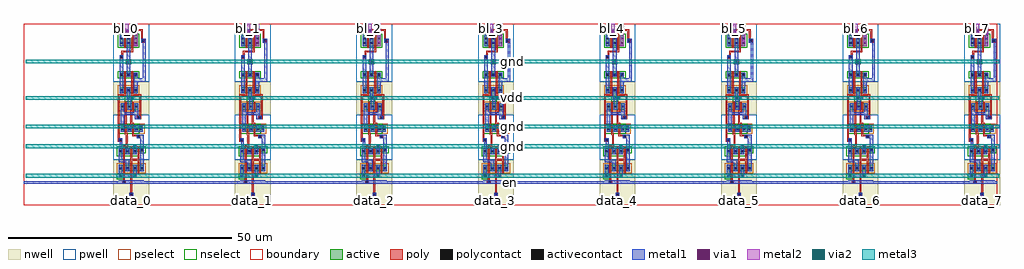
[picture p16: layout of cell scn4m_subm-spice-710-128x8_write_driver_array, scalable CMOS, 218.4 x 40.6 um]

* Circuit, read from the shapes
.subckt scn4m_subm-spice-710-128x8_write_driver_array bl_0 bl_1 bl_2 bl_3 bl_4 bl_5 bl_6 bl_7 br_0 br_1 br_2 br_3 br_4 br_5 br_6 br_7 data_0 data_1 data_2 data_3 data_4 data_5 data_6 data_7 en gnd vdd
M1 n1 en n2 gnd nfet w=1.4u l=0.4u
M2 gnd n2 n3 gnd nfet w=0.8u l=0.4u
M3 gnd n4 bl_0 gnd nfet w=2.4u l=0.4u
M4 n5 en n6 gnd nfet w=1.4u l=0.4u
M5 gnd data_0 n1 gnd nfet w=1.4u l=0.4u
M6 n4 n6 gnd gnd nfet w=0.8u l=0.4u
M7 br_0 n3 gnd gnd nfet w=2.4u l=0.4u
M8 gnd n7 n5 gnd nfet w=1.4u l=0.4u
M9 n7 data_0 gnd gnd nfet w=0.8u l=0.4u
M10 n8 en n9 gnd nfet w=1.4u l=0.4u
M11 gnd n9 n10 gnd nfet w=0.8u l=0.4u
M12 gnd n11 bl_1 gnd nfet w=2.4u l=0.4u
M13 n12 en n13 gnd nfet w=1.4u l=0.4u
M14 gnd data_1 n8 gnd nfet w=1.4u l=0.4u
M15 n11 n13 gnd gnd nfet w=0.8u l=0.4u
M16 br_1 n10 gnd gnd nfet w=2.4u l=0.4u
M17 gnd n14 n12 gnd nfet w=1.4u l=0.4u
M18 n14 data_1 gnd gnd nfet w=0.8u l=0.4u
M19 n15 en n16 gnd nfet w=1.4u l=0.4u
M20 gnd n16 n17 gnd nfet w=0.8u l=0.4u
M21 gnd n18 bl_2 gnd nfet w=2.4u l=0.4u
M22 n19 en n20 gnd nfet w=1.4u l=0.4u
M23 gnd data_2 n15 gnd nfet w=1.4u l=0.4u
M24 n18 n20 gnd gnd nfet w=0.8u l=0.4u
M25 br_2 n17 gnd gnd nfet w=2.4u l=0.4u
M26 gnd n21 n19 gnd nfet w=1.4u l=0.4u
M27 n21 data_2 gnd gnd nfet w=0.8u l=0.4u
M28 n22 en n23 gnd nfet w=1.4u l=0.4u
M29 gnd n23 n24 gnd nfet w=0.8u l=0.4u
M30 gnd n25 bl_3 gnd nfet w=2.4u l=0.4u
M31 n26 en n27 gnd nfet w=1.4u l=0.4u
M32 gnd data_3 n22 gnd nfet w=1.4u l=0.4u
M33 n25 n27 gnd gnd nfet w=0.8u l=0.4u
M34 br_3 n24 gnd gnd nfet w=2.4u l=0.4u
M35 gnd n28 n26 gnd nfet w=1.4u l=0.4u
M36 n28 data_3 gnd gnd nfet w=0.8u l=0.4u
M37 n29 en n30 gnd nfet w=1.4u l=0.4u
M38 gnd n30 n31 gnd nfet w=0.8u l=0.4u
M39 gnd n32 bl_4 gnd nfet w=2.4u l=0.4u
M40 n33 en n34 gnd nfet w=1.4u l=0.4u
M41 gnd data_4 n29 gnd nfet w=1.4u l=0.4u
M42 n32 n34 gnd gnd nfet w=0.8u l=0.4u
M43 br_4 n31 gnd gnd nfet w=2.4u l=0.4u
M44 gnd n35 n33 gnd nfet w=1.4u l=0.4u
M45 n35 data_4 gnd gnd nfet w=0.8u l=0.4u
M46 n36 en n37 gnd nfet w=1.4u l=0.4u
M47 gnd n37 n38 gnd nfet w=0.8u l=0.4u
M48 gnd n39 bl_5 gnd nfet w=2.4u l=0.4u
M49 n40 en n41 gnd nfet w=1.4u l=0.4u
M50 gnd data_5 n36 gnd nfet w=1.4u l=0.4u
M51 n39 n41 gnd gnd nfet w=0.8u l=0.4u
M52 br_5 n38 gnd gnd nfet w=2.4u l=0.4u
M53 gnd n42 n40 gnd nfet w=1.4u l=0.4u
M54 n42 data_5 gnd gnd nfet w=0.8u l=0.4u
M55 n43 en n44 gnd nfet w=1.4u l=0.4u
M56 gnd n44 n45 gnd nfet w=0.8u l=0.4u
M57 gnd n46 bl_6 gnd nfet w=2.4u l=0.4u
M58 n47 en n48 gnd nfet w=1.4u l=0.4u
M59 gnd data_6 n43 gnd nfet w=1.4u l=0.4u
M60 n46 n48 gnd gnd nfet w=0.8u l=0.4u
M61 br_6 n45 gnd gnd nfet w=2.4u l=0.4u
M62 gnd n49 n47 gnd nfet w=1.4u l=0.4u
M63 n49 data_6 gnd gnd nfet w=0.8u l=0.4u
M64 n50 en n51 gnd nfet w=1.4u l=0.4u
M65 gnd n51 n52 gnd nfet w=0.8u l=0.4u
M66 gnd n53 bl_7 gnd nfet w=2.4u l=0.4u
M67 n54 en n55 gnd nfet w=1.4u l=0.4u
M68 gnd data_7 n50 gnd nfet w=1.4u l=0.4u
M69 n53 n55 gnd gnd nfet w=0.8u l=0.4u
M70 br_7 n52 gnd gnd nfet w=2.4u l=0.4u
M71 gnd n56 n54 gnd nfet w=1.4u l=0.4u
M72 n56 data_7 gnd gnd nfet w=0.8u l=0.4u
M73 n2 en vdd vdd pfet w=1.4u l=0.4u
M74 vdd n2 n3 vdd pfet w=1.4u l=0.4u
M75 vdd en n6 vdd pfet w=1.4u l=0.4u
M76 vdd data_0 n2 vdd pfet w=1.4u l=0.4u
M77 n4 n6 vdd vdd pfet w=1.4u l=0.4u
M78 n6 n7 vdd vdd pfet w=1.4u l=0.4u
M79 n7 data_0 vdd vdd pfet w=1.4u l=0.4u
M80 n9 en vdd vdd pfet w=1.4u l=0.4u
M81 vdd n9 n10 vdd pfet w=1.4u l=0.4u
M82 vdd en n13 vdd pfet w=1.4u l=0.4u
M83 vdd data_1 n9 vdd pfet w=1.4u l=0.4u
M84 n11 n13 vdd vdd pfet w=1.4u l=0.4u
M85 n13 n14 vdd vdd pfet w=1.4u l=0.4u
M86 n14 data_1 vdd vdd pfet w=1.4u l=0.4u
M87 n16 en vdd vdd pfet w=1.4u l=0.4u
M88 vdd n16 n17 vdd pfet w=1.4u l=0.4u
M89 vdd en n20 vdd pfet w=1.4u l=0.4u
M90 vdd data_2 n16 vdd pfet w=1.4u l=0.4u
M91 n18 n20 vdd vdd pfet w=1.4u l=0.4u
M92 n20 n21 vdd vdd pfet w=1.4u l=0.4u
M93 n21 data_2 vdd vdd pfet w=1.4u l=0.4u
M94 n23 en vdd vdd pfet w=1.4u l=0.4u
M95 vdd n23 n24 vdd pfet w=1.4u l=0.4u
M96 vdd en n27 vdd pfet w=1.4u l=0.4u
M97 vdd data_3 n23 vdd pfet w=1.4u l=0.4u
M98 n25 n27 vdd vdd pfet w=1.4u l=0.4u
M99 n27 n28 vdd vdd pfet w=1.4u l=0.4u
M100 n28 data_3 vdd vdd pfet w=1.4u l=0.4u
M101 n30 en vdd vdd pfet w=1.4u l=0.4u
M102 vdd n30 n31 vdd pfet w=1.4u l=0.4u
M103 vdd en n34 vdd pfet w=1.4u l=0.4u
M104 vdd data_4 n30 vdd pfet w=1.4u l=0.4u
M105 n32 n34 vdd vdd pfet w=1.4u l=0.4u
M106 n34 n35 vdd vdd pfet w=1.4u l=0.4u
M107 n35 data_4 vdd vdd pfet w=1.4u l=0.4u
M108 n37 en vdd vdd pfet w=1.4u l=0.4u
M109 vdd n37 n38 vdd pfet w=1.4u l=0.4u
M110 vdd en n41 vdd pfet w=1.4u l=0.4u
M111 vdd data_5 n37 vdd pfet w=1.4u l=0.4u
M112 n39 n41 vdd vdd pfet w=1.4u l=0.4u
M113 n41 n42 vdd vdd pfet w=1.4u l=0.4u
M114 n42 data_5 vdd vdd pfet w=1.4u l=0.4u
M115 n44 en vdd vdd pfet w=1.4u l=0.4u
M116 vdd n44 n45 vdd pfet w=1.4u l=0.4u
M117 vdd en n48 vdd pfet w=1.4u l=0.4u
M118 vdd data_6 n44 vdd pfet w=1.4u l=0.4u
M119 n46 n48 vdd vdd pfet w=1.4u l=0.4u
M120 n48 n49 vdd vdd pfet w=1.4u l=0.4u
M121 n49 data_6 vdd vdd pfet w=1.4u l=0.4u
M122 n51 en vdd vdd pfet w=1.4u l=0.4u
M123 vdd n51 n52 vdd pfet w=1.4u l=0.4u
M124 vdd en n55 vdd pfet w=1.4u l=0.4u
M125 vdd data_7 n51 vdd pfet w=1.4u l=0.4u
M126 n53 n55 vdd vdd pfet w=1.4u l=0.4u
M127 n55 n56 vdd vdd pfet w=1.4u l=0.4u
M128 n56 data_7 vdd vdd pfet w=1.4u l=0.4u
.ends

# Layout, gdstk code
import gdstk
lib = gdstk.Library(unit=1e-6, precision=1e-09)
def R(c, l, rs):  # rectangles x0, y0, x1, y1
    for r in rs: c.add(gdstk.rectangle(r[:2], r[2:], *l))
def A(c, l, x, y, w, h, nx, ny, dx, dy):  # array of equal rectangles
    R(c, l, [(x+i*dx, y+j*dy, x+i*dx+w, y+j*dy+h) for i in range(nx) for j in range(ny)])
def P(c, l, *ps):  # polygons
    for p in ps: c.add(gdstk.Polygon(p, *l))
pwell = (41, 0)
nwell = (42, 0)
active = (43, 0)
pselect = (44, 0)
nselect = (45, 0)
poly = (46, 0)
polycontact = (47, 0)
activecontact = (48, 0)
metal1 = (49, 0)
via1 = (50, 0)
metal2 = (51, 0)
via2 = (61, 0)
metal3 = (62, 0)
boundary = (63, 0)

write_driver = lib.new_cell('write_driver')
R(write_driver, pwell, [(-0.6,10.2,7.4,20.2), (-0.6,27.6,7.4,40.6)])
R(write_driver, nwell, [(-0.6,0,7.4,10.2), (-0.6,20.2,7.4,27.6)])
R(write_driver, active, [(0.6,6.2,1.4,7.6), (0.6,7.6,6.2,9), (0.6,11.4,4.6,12), (0.6,12,6.2,12.8), (1,16.4,6,17.8), (1,21.4,5,22.8), (2.4,23.6,3.2,25), (0.8,25,4.8,26.4), (0.8,28.8,4.8,29.6), (2.2,31.6,3.4,32.7), (0.8,35.6,4.8,38)])
R(write_driver, pselect, [(0.2,7,1.8,7.2), (0.2,7.2,6.6,9.4), (5.2,16,6.4,18.2), (0.6,21,5.4,23.2), (2,24.4,3.6,24.6), (0.4,24.6,5.2,26.8), (2.2,31.6,3.4,32.7)])
R(write_driver, nselect, [(0.2,5.8,1.8,7), (0.2,11,5,11.6), (0.2,11.6,6.6,13.2), (0.6,16,5.2,18.2), (2,23.2,3.6,24.4), (0.4,28.4,5.2,30), (0.4,35.2,5.2,38.4)])
R(write_driver, poly, [(3,2,3.8,2.8), (3.2,2.8,3.6,10), (1.4,4.8,2.2,5.6), (1.6,5.6,2,13), (4.8,7.2,5.2,10), (3.2,10,5.2,10.4), (3.2,10.4,3.6,13.2), (4.8,10.4,5.2,13.2), (1.6,13,2.6,13.4), (2.2,13.4,2.6,15.8), (0.4,14.2,1.4,15), (0.4,15,0.8,24.4), (4.6,15,5.4,15.4), (3.6,15.4,5.4,15.8), (2,15.8,2.6,16.2), (3.6,15.8,4,18), (2,16.2,2.4,23.2), (3.2,18,4,18.4), (3.2,18.4,3.6,20.8), (4.6,19.2,5.6,20), (5.2,20,5.6,24.4), (3.2,20.8,4,21.2), (3.6,21.2,4,23.2), (0.4,24.4,2.2,24.8), (3.4,24.4,5.6,24.8), (1.8,24.8,2.2,30), (3.4,24.8,3.8,30), (0.8,32.8,1.6,33.6), (1.2,33.6,1.6,34.2), (1.2,34.2,3.8,34.6), (3.4,34.6,3.8,38.4), (1.8,35.2,2.2,39), (5.6,36.4,6.4,37.2), (5.6,37.2,6,39), (1.8,39,6,39.4)])
R(write_driver, polycontact, [(3.2,2.2,3.6,2.6), (1.6,5,2,5.4), (0.8,14.4,1.2,14.8), (4.8,15.2,5.2,15.6), (4.8,19.4,5.2,19.8), (1,33,1.4,33.4), (5.8,36.6,6.2,37)])
A(write_driver, activecontact, 0.8, 8.1, 0.4, 0.4, 4, 1, 1.6, 0)
A(write_driver, activecontact, 0.8, 11.9, 0.4, 0.4, 3, 1, 1.6, 0)
A(write_driver, activecontact, 1.2, 16.9, 0.4, 0.4, 3, 2, 1.6, 5)
A(write_driver, activecontact, 1, 25.5, 0.4, 0.4, 3, 2, 1.6, 3.5)
A(write_driver, activecontact, 1, 36.1, 0.4, 0.4, 3, 2, 1.6, 1)
R(write_driver, activecontact, [(0.8,6.4,1.2,6.8), (5.6,12.2,6,12.6), (5.4,16.9,5.8,17.3), (2.6,23.8,3,24.2), (2.6,32,3,32.4)])
R(write_driver, metal1, [(3,1.2,3.8,2.8), (0.6,4.8,6.2,5.6), (0.6,4.8,6.2,5.6), (0.6,6.2,4.6,7), (0.6,7,1.4,9), (3.8,7,4.6,9), (2.2,7.6,3,9.6), (5.4,7.6,6.2,15), (0.6,9.6,3,10.2), (0.6,10.2,1.4,12.8), (2.2,11.4,3,12.8), (3.8,11.4,4.6,13.6), (0.8,12.8,1.4,14.2), (0.6,14.2,1.4,15), (4.6,15,6.2,15.8), (1,16.4,1.8,20.2), (2.6,16.4,3.4,17.8), (4.2,16.4,6,17.8), (5,17.8,6,18), (4.2,19.2,5.4,20), (4.2,20,5,20.2), (1,20.2,5,20.8), (1,20.8,1.8,22.8), (4.2,20.8,5,22.8), (2.6,21.4,3.4,23.6), (2.4,23.6,4,24.4), (2.4,24.4,3.2,26.4), (0.8,25,1.6,33.6), (4,25,4.8,27.6), (4,27.6,6.6,28.4), (4,28.4,4.8,29.6), (6,28.4,6.6,36.4), (0.8,35.6,1.6,38), (4,35.6,4.8,38.8), (5.6,36.4,6.6,37.2), (1,38,1.6,38.6), (1,38.6,2.8,39.4)])
P(write_driver, metal1, [(2.4,28.8),(2.4,31.695),(2.4,38),(3.2,38),(3.2,28.8)])
R(write_driver, via1, [(3.2,1.4,3.6,1.8), (4,6.4,4.4,6.8), (4,13,4.4,13.4), (5.4,17.4,5.8,17.8), (3.4,23.8,3.8,24.2), (2.6,32,3,32.4), (4.2,38.2,4.6,38.6), (2.2,38.8,2.6,39.2)])
R(write_driver, metal2, [(3,0,3.8,2), (3,0,3.8,2), (3.8,6.2,4.6,7), (3.8,6.2,4.6,7), (3.8,12.8,4.6,13.6), (3.8,12.8,4.6,13.6), (5.2,17.2,6,18), (5.2,17.2,6,18), (3.2,23.6,4,24.4), (3.2,23.6,4,24.4), (2.4,31.8,3.2,32.6), (2.4,31.8,3.2,32.6), (4,35.6,4.8,40.6), (4,35.6,4.8,40.6), (2,38.6,2.8,40.6), (2,38.6,2.8,40.6)])
R(write_driver, boundary, [(0,0,6.8,40.6)])
write_driver.add(gdstk.Label('en', (3.4,5.2), layer=49, texttype=0))
write_driver.add(gdstk.Label('din', (3,0.2), layer=51, texttype=0))
write_driver.add(gdstk.Label('gnd', (4.2,13.2), layer=51, texttype=0))
write_driver.add(gdstk.Label('gnd', (5.6,17.6), layer=51, texttype=0))
write_driver.add(gdstk.Label('vdd', (4.2,6.6), layer=51, texttype=0))
write_driver.add(gdstk.Label('vdd', (3.6,24), layer=51, texttype=0))
write_driver.add(gdstk.Label('bl', (2.4,40.2), layer=51, texttype=0))
write_driver.add(gdstk.Label('br', (4.4,40.2), layer=51, texttype=0))
write_driver.add(gdstk.Label('gnd', (2.8,32.2), layer=51, texttype=0))
write_driver.add(gdstk.Label('din', (3.4,1), layer=51, texttype=0))
write_driver.add(gdstk.Label('bl', (2.4,39.6), layer=51, texttype=0))
write_driver.add(gdstk.Label('br', (4.4,38.1), layer=51, texttype=0))
write_driver.add(gdstk.Label('en', (3.4,5.2), layer=49, texttype=0))
write_driver.add(gdstk.Label('vdd', (4.2,6.6), layer=51, texttype=0))
write_driver.add(gdstk.Label('vdd', (3.6,24), layer=51, texttype=0))
write_driver.add(gdstk.Label('gnd', (4.2,13.2), layer=51, texttype=0))
write_driver.add(gdstk.Label('gnd', (5.6,17.6), layer=51, texttype=0))
write_driver.add(gdstk.Label('gnd', (2.8,32.2), layer=51, texttype=0))

scn4m_subm_spice_710_128 = lib.new_cell('scn4m_subm-spice-710-128x8_contact_19')
R(scn4m_subm_spice_710_128, metal2, [(0,0,0.8,0.8)])
R(scn4m_subm_spice_710_128, via2, [(0.2,0.2,0.6,0.6)])
R(scn4m_subm_spice_710_128, metal3, [(0,0,0.8,0.8)])
R(scn4m_subm_spice_710_128, boundary, [(0,0,0.8,0.8)])

c_scn4m_subm_spice_710_128 = lib.new_cell('scn4m_subm-spice-710-128x8_write_driver_array')
R(c_scn4m_subm_spice_710_128, metal1, [(0,4.8,217.8,5.4)])
A(c_scn4m_subm_spice_710_128, metal2, 23.6, 0, 0.8, 2, 8, 1, 27.2, 0)
A(c_scn4m_subm_spice_710_128, metal2, 24.6, 35.6, 0.8, 5, 8, 1, 27.2, 0)
A(c_scn4m_subm_spice_710_128, metal2, 22.6, 38.6, 0.8, 2, 8, 1, 27.2, 0)
R(c_scn4m_subm_spice_710_128, metal3, [(0.4,6.2,218.2,7), (0.4,12.8,218.2,13.6), (0.4,17.2,218.2,18), (0.4,23.6,218.2,24.4), (0.4,31.8,218.2,32.6)])
R(c_scn4m_subm_spice_710_128, boundary, [(0,0,217.8,40.6)])
c_scn4m_subm_spice_710_128.add(gdstk.Reference(write_driver, (20.6,0)))
c_scn4m_subm_spice_710_128.add(gdstk.Reference(write_driver, (47.8,0)))
c_scn4m_subm_spice_710_128.add(gdstk.Reference(write_driver, (75,0)))
c_scn4m_subm_spice_710_128.add(gdstk.Reference(write_driver, (102.2,0)))
c_scn4m_subm_spice_710_128.add(gdstk.Reference(write_driver, (129.4,0)))
c_scn4m_subm_spice_710_128.add(gdstk.Reference(write_driver, (156.6,0)))
c_scn4m_subm_spice_710_128.add(gdstk.Reference(write_driver, (183.8,0)))
c_scn4m_subm_spice_710_128.add(gdstk.Reference(write_driver, (211,0)))
c_scn4m_subm_spice_710_128.add(gdstk.Reference(scn4m_subm_spice_710_128, (24.4,6.2)))
c_scn4m_subm_spice_710_128.add(gdstk.Reference(scn4m_subm_spice_710_128, (51.6,6.2)))
c_scn4m_subm_spice_710_128.add(gdstk.Reference(scn4m_subm_spice_710_128, (78.8,6.2)))
c_scn4m_subm_spice_710_128.add(gdstk.Reference(scn4m_subm_spice_710_128, (106,6.2)))
c_scn4m_subm_spice_710_128.add(gdstk.Reference(scn4m_subm_spice_710_128, (133.2,6.2)))
c_scn4m_subm_spice_710_128.add(gdstk.Reference(scn4m_subm_spice_710_128, (160.4,6.2)))
c_scn4m_subm_spice_710_128.add(gdstk.Reference(scn4m_subm_spice_710_128, (187.6,6.2)))
c_scn4m_subm_spice_710_128.add(gdstk.Reference(scn4m_subm_spice_710_128, (214.8,6.2)))
c_scn4m_subm_spice_710_128.add(gdstk.Reference(scn4m_subm_spice_710_128, (23.8,23.6)))
c_scn4m_subm_spice_710_128.add(gdstk.Reference(scn4m_subm_spice_710_128, (51,23.6)))
c_scn4m_subm_spice_710_128.add(gdstk.Reference(scn4m_subm_spice_710_128, (78.2,23.6)))
c_scn4m_subm_spice_710_128.add(gdstk.Reference(scn4m_subm_spice_710_128, (105.4,23.6)))
c_scn4m_subm_spice_710_128.add(gdstk.Reference(scn4m_subm_spice_710_128, (132.6,23.6)))
c_scn4m_subm_spice_710_128.add(gdstk.Reference(scn4m_subm_spice_710_128, (159.8,23.6)))
c_scn4m_subm_spice_710_128.add(gdstk.Reference(scn4m_subm_spice_710_128, (187,23.6)))
c_scn4m_subm_spice_710_128.add(gdstk.Reference(scn4m_subm_spice_710_128, (214.2,23.6)))
c_scn4m_subm_spice_710_128.add(gdstk.Reference(scn4m_subm_spice_710_128, (24.4,12.8)))
c_scn4m_subm_spice_710_128.add(gdstk.Reference(scn4m_subm_spice_710_128, (51.6,12.8)))
c_scn4m_subm_spice_710_128.add(gdstk.Reference(scn4m_subm_spice_710_128, (78.8,12.8)))
c_scn4m_subm_spice_710_128.add(gdstk.Reference(scn4m_subm_spice_710_128, (106,12.8)))
c_scn4m_subm_spice_710_128.add(gdstk.Reference(scn4m_subm_spice_710_128, (133.2,12.8)))
c_scn4m_subm_spice_710_128.add(gdstk.Reference(scn4m_subm_spice_710_128, (160.4,12.8)))
c_scn4m_subm_spice_710_128.add(gdstk.Reference(scn4m_subm_spice_710_128, (187.6,12.8)))
c_scn4m_subm_spice_710_128.add(gdstk.Reference(scn4m_subm_spice_710_128, (214.8,12.8)))
c_scn4m_subm_spice_710_128.add(gdstk.Reference(scn4m_subm_spice_710_128, (25.8,17.2)))
c_scn4m_subm_spice_710_128.add(gdstk.Reference(scn4m_subm_spice_710_128, (53,17.2)))
c_scn4m_subm_spice_710_128.add(gdstk.Reference(scn4m_subm_spice_710_128, (80.2,17.2)))
c_scn4m_subm_spice_710_128.add(gdstk.Reference(scn4m_subm_spice_710_128, (107.4,17.2)))
c_scn4m_subm_spice_710_128.add(gdstk.Reference(scn4m_subm_spice_710_128, (134.6,17.2)))
c_scn4m_subm_spice_710_128.add(gdstk.Reference(scn4m_subm_spice_710_128, (161.8,17.2)))
c_scn4m_subm_spice_710_128.add(gdstk.Reference(scn4m_subm_spice_710_128, (189,17.2)))
c_scn4m_subm_spice_710_128.add(gdstk.Reference(scn4m_subm_spice_710_128, (216.2,17.2)))
c_scn4m_subm_spice_710_128.add(gdstk.Reference(scn4m_subm_spice_710_128, (23,31.8)))
c_scn4m_subm_spice_710_128.add(gdstk.Reference(scn4m_subm_spice_710_128, (50.2,31.8)))
c_scn4m_subm_spice_710_128.add(gdstk.Reference(scn4m_subm_spice_710_128, (77.4,31.8)))
c_scn4m_subm_spice_710_128.add(gdstk.Reference(scn4m_subm_spice_710_128, (104.6,31.8)))
c_scn4m_subm_spice_710_128.add(gdstk.Reference(scn4m_subm_spice_710_128, (131.8,31.8)))
c_scn4m_subm_spice_710_128.add(gdstk.Reference(scn4m_subm_spice_710_128, (159,31.8)))
c_scn4m_subm_spice_710_128.add(gdstk.Reference(scn4m_subm_spice_710_128, (186.2,31.8)))
c_scn4m_subm_spice_710_128.add(gdstk.Reference(scn4m_subm_spice_710_128, (213.4,31.8)))
c_scn4m_subm_spice_710_128.add(gdstk.Label('data_0', (24,1), layer=51, texttype=0))
c_scn4m_subm_spice_710_128.add(gdstk.Label('bl_0', (23,39.6), layer=51, texttype=0))
c_scn4m_subm_spice_710_128.add(gdstk.Label('br_0', (25,38.1), layer=51, texttype=0))
c_scn4m_subm_spice_710_128.add(gdstk.Label('data_1', (51.2,1), layer=51, texttype=0))
c_scn4m_subm_spice_710_128.add(gdstk.Label('bl_1', (50.2,39.6), layer=51, texttype=0))
c_scn4m_subm_spice_710_128.add(gdstk.Label('br_1', (52.2,38.1), layer=51, texttype=0))
c_scn4m_subm_spice_710_128.add(gdstk.Label('data_2', (78.4,1), layer=51, texttype=0))
c_scn4m_subm_spice_710_128.add(gdstk.Label('bl_2', (77.4,39.6), layer=51, texttype=0))
c_scn4m_subm_spice_710_128.add(gdstk.Label('br_2', (79.4,38.1), layer=51, texttype=0))
c_scn4m_subm_spice_710_128.add(gdstk.Label('data_3', (105.6,1), layer=51, texttype=0))
c_scn4m_subm_spice_710_128.add(gdstk.Label('bl_3', (104.6,39.6), layer=51, texttype=0))
c_scn4m_subm_spice_710_128.add(gdstk.Label('br_3', (106.6,38.1), layer=51, texttype=0))
c_scn4m_subm_spice_710_128.add(gdstk.Label('data_4', (132.8,1), layer=51, texttype=0))
c_scn4m_subm_spice_710_128.add(gdstk.Label('bl_4', (131.8,39.6), layer=51, texttype=0))
c_scn4m_subm_spice_710_128.add(gdstk.Label('br_4', (133.8,38.1), layer=51, texttype=0))
c_scn4m_subm_spice_710_128.add(gdstk.Label('data_5', (160,1), layer=51, texttype=0))
c_scn4m_subm_spice_710_128.add(gdstk.Label('bl_5', (159,39.6), layer=51, texttype=0))
c_scn4m_subm_spice_710_128.add(gdstk.Label('br_5', (161,38.1), layer=51, texttype=0))
c_scn4m_subm_spice_710_128.add(gdstk.Label('data_6', (187.2,1), layer=51, texttype=0))
c_scn4m_subm_spice_710_128.add(gdstk.Label('bl_6', (186.2,39.6), layer=51, texttype=0))
c_scn4m_subm_spice_710_128.add(gdstk.Label('br_6', (188.2,38.1), layer=51, texttype=0))
c_scn4m_subm_spice_710_128.add(gdstk.Label('data_7', (214.4,1), layer=51, texttype=0))
c_scn4m_subm_spice_710_128.add(gdstk.Label('bl_7', (213.4,39.6), layer=51, texttype=0))
c_scn4m_subm_spice_710_128.add(gdstk.Label('br_7', (215.4,38.1), layer=51, texttype=0))
c_scn4m_subm_spice_710_128.add(gdstk.Label('en', (108.9,5.1), layer=49, texttype=0))
c_scn4m_subm_spice_710_128.add(gdstk.Label('vdd', (109.3,24), layer=62, texttype=0))
c_scn4m_subm_spice_710_128.add(gdstk.Label('vdd', (109.3,6.6), layer=62, texttype=0))
c_scn4m_subm_spice_710_128.add(gdstk.Label('gnd', (109.3,13.2), layer=62, texttype=0))
c_scn4m_subm_spice_710_128.add(gdstk.Label('gnd', (109.3,17.6), layer=62, texttype=0))
c_scn4m_subm_spice_710_128.add(gdstk.Label('gnd', (109.3,32.2), layer=62, texttype=0))

lib.write_gds('scn4m_subm-spice-710-128x8_write_driver_array.gds')
